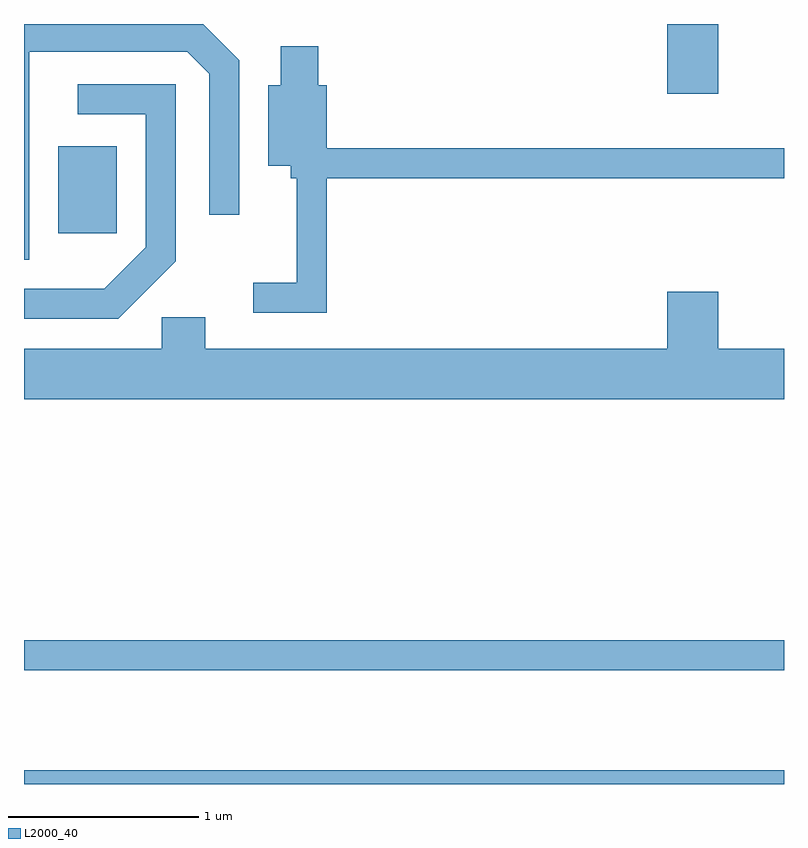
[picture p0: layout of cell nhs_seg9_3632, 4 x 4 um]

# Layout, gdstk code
import gdstk
lib = gdstk.Library(unit=1e-6, precision=1e-09)
def R(c, l, rs):  # rectangles x0, y0, x1, y1
    for r in rs: c.add(gdstk.rectangle(r[:2], r[2:], *l))
def P(c, l, *ps):  # polygons
    for p in ps: c.add(gdstk.Polygon(p, *l))
L2000_40 = (2000, 40)

nhs_seg9_3632 = lib.new_cell('nhs_seg9_3632')
R(nhs_seg9_3632, L2000_40, [(291.611,2016.432,295.611,2016.504), (291.611,2017.031,295.611,2017.189), (291.791,2019.331,292.099,2019.789), (294.996,2020.066,295.264,2020.432)])
P(nhs_seg9_3632, L2000_40, [(291.639,2020.286),(292.469,2020.286),(292.586,2020.169),(292.586,2019.428),(292.744,2019.428),(292.744,2020.242),(292.554,2020.432),(291.611,2020.432),(291.611,2019.191),(291.639,2019.191)],
  [(293.204,2019.621),(295.611,2019.621),(295.611,2019.779),(293.204,2019.779),(293.204,2020.109),(293.159,2020.109),(293.159,2020.314),(292.961,2020.314),(292.961,2020.109),(292.896,2020.109),(292.896,2019.686),(293.016,2019.686),(293.016,2019.621),(293.046,2019.621),(293.046,2019.069),(292.818,2019.069),(292.818,2018.911),(293.204,2018.911)],
  [(292.409,2019.184),(292.409,2020.114),(291.893,2020.114),(291.893,2019.956),(292.251,2019.956),(292.251,2019.257),(292.034,2019.039),(291.611,2019.039),(291.611,2018.881),(292.107,2018.881)],
  [(295.611,2018.724),(295.264,2018.724),(295.264,2019.024),(294.996,2019.024),(294.996,2018.724),(292.564,2018.724),(292.564,2018.889),(292.336,2018.889),(292.336,2018.724),(291.611,2018.724),(291.611,2018.456),(295.611,2018.456)])

lib.write_gds('nhs_seg9_3632.gds')
